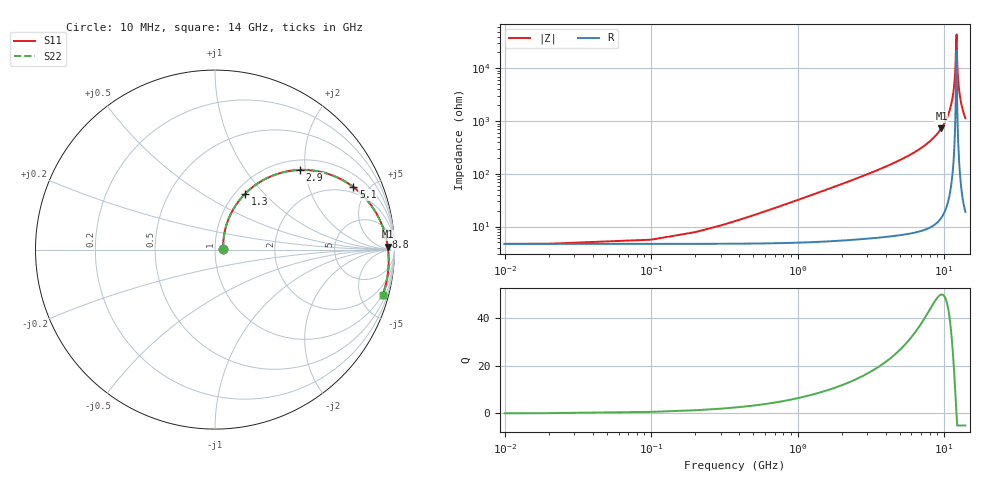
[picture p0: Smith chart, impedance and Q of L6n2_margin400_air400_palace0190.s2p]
! Created with skrf 2.2.0 (http://scikit-rf.org).
# GHz S DB R 50.0
! Port[1] = P1
! Port[2] = P2
!freq dBS11 angS11 dBS21 angS21 dBS12 angS12 dBS22 angS22
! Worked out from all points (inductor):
!   142 points, 10 MHz to 14 GHz, reference 50 ohm
!   read as one part in series: L = 4.98 nH near 500 MHz
!   highest Q = 49.6 at 9.6 GHz (marker M1), where L = 12.1 nH
!   self-resonance near 12.1 GHz
!   S11 on the Smith chart (normalised r, x): 10 MHz: 1.09, +0.01; 1.3 GHz: 1.11, +0.78; 2.9 GHz: 1.22, +1.87; 5.1 GHz: 1.63, +4.01; 8.8 GHz: 12, +19; 14 GHz: 0.93, -7.49
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0.01  -26.97 3.3  -0.40 -0.2  -0.40 -0.2  -26.97 3.3
0.6  -15.31 65.9  -0.59 -10.8  -0.59 -10.8  -15.31 65.9
1.3  -9.09 61.7  -1.11 -22.3  -1.11 -22.3  -9.09 61.7
2.4  -4.84 48.7  -2.40 -37.8  -2.40 -37.8  -4.84 48.7
2.9  -3.77 43.2  -3.11 -43.8  -3.11 -43.8  -3.77 43.2
4.7  -1.71 27.2  -6.04 -60.8  -6.04 -60.8  -1.71 27.2
5.1  -1.45 24.3  -6.75 -63.8  -6.75 -63.8  -1.45 24.3
7.1  -0.70 12.4  -10.67 -76.3  -10.67 -76.3  -0.70 12.4
8.8  -0.41 4.3  -14.92 -84.5  -14.92 -84.5  -0.41 4.3
9.4  -0.35 1.8  -16.84 -87.1  -16.84 -87.1  -0.35 1.8
9.6  -0.33 1.0  -17.56 -87.9  -17.56 -87.9  -0.33 1.0
10.9  -0.26 -4.1  -24.10 -92.6  -24.10 -92.6  -0.26 -4.1
11.7  -0.24 -7.0  -33.05 -93.9  -33.05 -93.9  -0.25 -7.0
11.9  -0.24 -7.8  -38.03 -92.4  -38.03 -92.4  -0.24 -7.8
12  -0.24 -8.1  -42.21 -89.6  -42.21 -89.6  -0.24 -8.1
12.1  -0.24 -8.5  -50.24 -77.1  -50.24 -77.1  -0.24 -8.5
12.2  -0.24 -8.8  -53.15 51.3  -53.15 51.3  -0.24 -8.8
12.3  -0.24 -9.2  -43.42 71.7  -43.42 71.7  -0.24 -9.2
12.4  -0.24 -9.5  -38.84 75.2  -38.84 75.2  -0.24 -9.5
12.6  -0.24 -10.2  -33.64 76.9  -33.64 76.9  -0.25 -10.2
13.1  -0.25 -11.9  -27.16 76.8  -27.16 76.8  -0.25 -11.9
14  -0.28 -15.0  -21.49 74.3  -21.49 74.3  -0.28 -15.0
